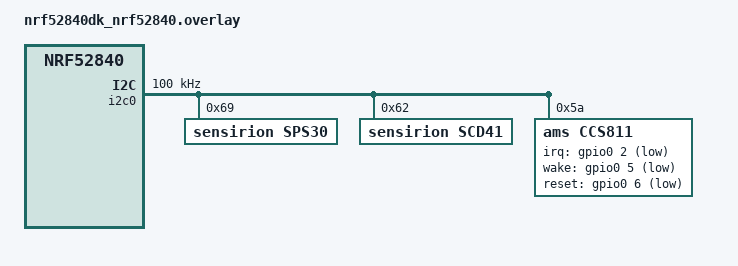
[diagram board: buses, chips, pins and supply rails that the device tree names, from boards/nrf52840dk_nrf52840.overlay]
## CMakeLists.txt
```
# SPDX-License-Identifier: Apache-2.0

cmake_minimum_required(VERSION 3.20.0)
find_package(Zephyr REQUIRED HINTS $ENV{ZEPHYR_BASE})
project(project_ssns)

target_sources(app PRIVATE src/main.c)
```

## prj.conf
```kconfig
CONFIG_I2C=y
CONFIG_SENSOR=y
CONFIG_PWM=y
CONFIG_LOG=y
CONFIG_SCD4X=y
CONFIG_CRC=y
CONFIG_STDOUT_CONSOLE=y
CONFIG_SENSOR=y
# CONFIG_CCS811_DRIVE_MODE_2=y
# CONFIG_CCS811_TRIGGER_GLOBAL_THREAD=y
# CONFIG_CCS811_TRIGGER_OWN_THREAD=y
# CONFIG_RESET_ON_FATAL_ERROR=n
# CONFIG_LOG=y
CONFIG_SPS30=y
```

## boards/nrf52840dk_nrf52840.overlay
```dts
&i2c0 {
    status = "okay";
	clock-frequency = <I2C_BITRATE_STANDARD>;

    sps30@69 {
        status = "okay";
        compatible = "sensirion,sps30";
        reg = <0x69>;
        model = "sps30";
    };

    scd41@62 {
        compatible = "sensirion,scd41";
        reg = <0x62>;
        label = "SCD41";
        mode = <0>; /* mode is usually a numeric value or a string, check sensor docs */
    };
    ccs811: ccs811@5a {
		compatible = "ams,ccs811";
		reg = <0x5a>;
		irq-gpios = <&gpio0 2 GPIO_ACTIVE_LOW>;
		wake-gpios = <&gpio0 5 GPIO_ACTIVE_LOW>;
		reset-gpios = <&gpio0 6 GPIO_ACTIVE_LOW>;
	};
};

    // scd41@62 {
    //     compatible = "sensirion,scd41";
    //     reg = <0x62>;
    //     label = "SCD41";
    //     mode = <0>; /* mode is usually a numeric value or a string, check sensor docs */
    // };
    // ccs811: ccs811@5a {
	// 	compatible = "ams,ccs811";
	// 	reg = <0x5a>;
	// 	irq-gpios = <&gpio0 2 GPIO_ACTIVE_LOW>;
	// 	wake-gpios = <&gpio0 5 GPIO_ACTIVE_LOW>;
	// 	reset-gpios = <&gpio0 6 GPIO_ACTIVE_LOW>;
	// };

// };
```

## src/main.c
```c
#include <zephyr/kernel.h>
#include <zephyr/device.h>
#include <zephyr/drivers/sensor.h>
#include "sensor/sps30/sps30.h"
#include <zephyr/sys/printk.h>
#include <zephyr/logging/log.h>
#include <zephyr/drivers/sensor/ccs811.h>

#include "sensor/scd4x/scd4x.h"

#if !DT_HAS_COMPAT_STATUS_OKAY(sensirion_scd41)
#error "No sensirion,scd4x compatible node found in the device tree"
#endif

#if !DT_HAS_COMPAT_STATUS_OKAY(sensirion_sps30)
#error "No sensirion,sps30 compatible node found in the device tree"
#endif

const struct device *scd41 = DEVICE_DT_GET_ANY(sensirion_scd41);
const struct device *ccs811 = DEVICE_DT_GET_ANY(ams_ccs811);
const struct device *sps30 = DEVICE_DT_GET_ANY(sensirion_sps30);

int main(void)
{

	if (!device_is_ready(scd41))
	{
		printk("SCD41 device is not ready\n");
		return 1;
	}
	if (!device_is_ready(ccs811))
	{
		printk("CCS811 device is not ready\n");
		return 1;
	}
	if (!device_is_ready(sps30))
	{
		printk("SPS30 device not ready\n");
		return 1;
	}
	struct sensor_value pm_1p0, pm_2p5, pm_10p0, pm_4p0, pm_0p5, pm_1p0_nc, pm_2p5_nc, pm_4p0_nc, pm_10p0_nc, typical_particle_size;

	struct sensor_value co2, temo, humi;
	struct sensor_value eco2, tvoc;
	while (true)
	{

		sensor_sample_fetch(scd41);
		sensor_channel_get(scd41, SENSOR_CHAN_CO2_SCD, &co2);
		sensor_channel_get(scd41, SENSOR_CHAN_AMBIENT_TEMP, &temo);
		sensor_channel_get(scd41, SENSOR_CHAN_HUMIDITY, &humi);
		// printk("CO2: %d.%06d ppm, Temperature: %d.%06d C, Humidity: %d.%06d %%\n",
			//    co2.val1, co2.val2, temo.val1, temo.val2, humi.val1, humi.val2);

		int ret = sensor_sample_fetch(ccs811);
		if (ret)
		{
			printk("Failed to fetch CCS811 sensor data: %d\n", ret);
			k_sleep(K_SECONDS(5));
			continue;
		}

		ret = sensor_channel_get(ccs811, SENSOR_CHAN_CO2, &eco2);
		if (ret)
		{
			printk("Failed to get eCO2 data: %d\n", ret);
		}

		ret = sensor_channel_get(ccs811, SENSOR_CHAN_VOC, &tvoc);
		if (ret)
		{
			printk("Failed to get TVOC data: %d\n", ret);
		}

		// printk("eCO2: %d ppm, TVOC: %d ppb\n", eco2.val1, tvoc.val1);
		// print json with unit
		printk("{\n");
		printk("  \"co2\": \"%d.%06d\",\n", co2.val1, co2.val2);
		printk("  \"co2_unit\": \"ppm\",\n");
		printk("  \"temperature\": \"%d.%06d\",\n", temo.val1, temo.val2);
		printk("  \"temperature_unit\": \"C\",\n");
		printk("  \"humidity\": \"%d.%06d\",\n", humi.val1, humi.val2);
		printk("  \"humidity_unit\": \"%%\",\n");
		printk("  \"eco2\": \"%d.%06d\",\n", eco2.val1, eco2.val2);
		printk("  \"eco2_unit\": \"ppm\",\n");
		printk("  \"tvoc\": \"%d.%06d\",\n", tvoc.val1, tvoc.val2);
		printk("  \"tvoc_unit\": \"ppb\",\n");
		// printk("}\n");
		

		sensor_sample_fetch(sps30);
		sensor_channel_get(sps30, SENSOR_CHAN_PM_1_0, &pm_1p0);
		sensor_channel_get(sps30, SENSOR_CHAN_PM_2_5, &pm_2p5);
		sensor_channel_get(sps30, SENSOR_CHAN_PM_10, &pm_10p0);
		sensor_channel_get(sps30, SENSOR_CHAN_PM_4_0, &pm_4p0);
		sensor_channel_get(sps30, SENSOR_CHAN_PM_0_5, &pm_0p5);
		sensor_channel_get(sps30, SENSOR_CHAN_PM_1_0_NC, &pm_1p0_nc);
		sensor_channel_get(sps30, SENSOR_CHAN_PM_2_5_NC, &pm_2p5_nc);
		sensor_channel_get(sps30, SENSOR_CHAN_PM_4_0_NC, &pm_4p0_nc);
		sensor_channel_get(sps30, SENSOR_CHAN_PM_10_NC, &pm_10p0_nc);
		sensor_channel_get(sps30, SENSOR_CHAN_PM_TYPICAL_PARTICLE_SIZE, &typical_particle_size);

		// make json with unit and print
		// printk("{\n");
		printk("  \"pm_1_0\": \"%d.%06d\",\n", pm_1p0.val1, pm_1p0.val2);
		printk("  \"pm_1_0_unit\": \"mg/m^3\",\n");
		printk("  \"pm_2_5\": \"%d.%06d\",\n", pm_2p5.val1, pm_2p5.val2);
		printk("  \"pm_2_5_unit\": \"mg/m^3\",\n");
		printk("  \"pm_10_0\": \"%d.%06d\",\n", pm_10p0.val1, pm_10p0.val2);
		printk("  \"pm_10_0_unit\": \"mg/m^3\",\n");
		printk("  \"pm_4_0\": \"%d.%06d\",\n", pm_4p0.val1, pm_4p0.val2);
		printk("  \"pm_4_0_unit\": \"mg/m^3\",\n");
		printk("  \"pm_0_5\": \"%d.%06d\",\n", pm_0p5.val1, pm_0p5.val2);
		printk("  \"pm_0_5_unit\": \"mg/m^3\",\n");
		printk("  \"pm_1_0_nc\": \"%d.%06d\",\n", pm_1p0_nc.val1, pm_1p0_nc.val2);
		printk("  \"pm_1_0_nc_unit\": \"/cm^3\",\n");
		printk("  \"pm_2_5_nc\": \"%d.%06d\",\n", pm_2p5_nc.val1, pm_2p5_nc.val2);
		printk("  \"pm_2_5_nc_unit\": \"/cm^3\",\n");
		printk("  \"pm_4_0_nc\": \"%d.%06d\",\n", pm_4p0_nc.val1, pm_4p0_nc.val2);
		printk("  \"pm_4_0_nc_unit\": \"/cm^3\",\n");
		printk("  \"pm_10_0_nc\": \"%d.%06d\",\n", pm_10p0_nc.val1, pm_10p0_nc.val2);
		printk("  \"pm_10_0_nc_unit\": \"/cm^3\",\n");
		printk("  \"typical_particle_size\": \"%d.%06d\",\n", typical_particle_size.val1, typical_particle_size.val2);
		printk("  \"typical_particle_size_unit\": \"µm\"\n");
		printk("}\n");

		k_sleep(K_SECONDS(5));
	}
	return 0;
}
```
